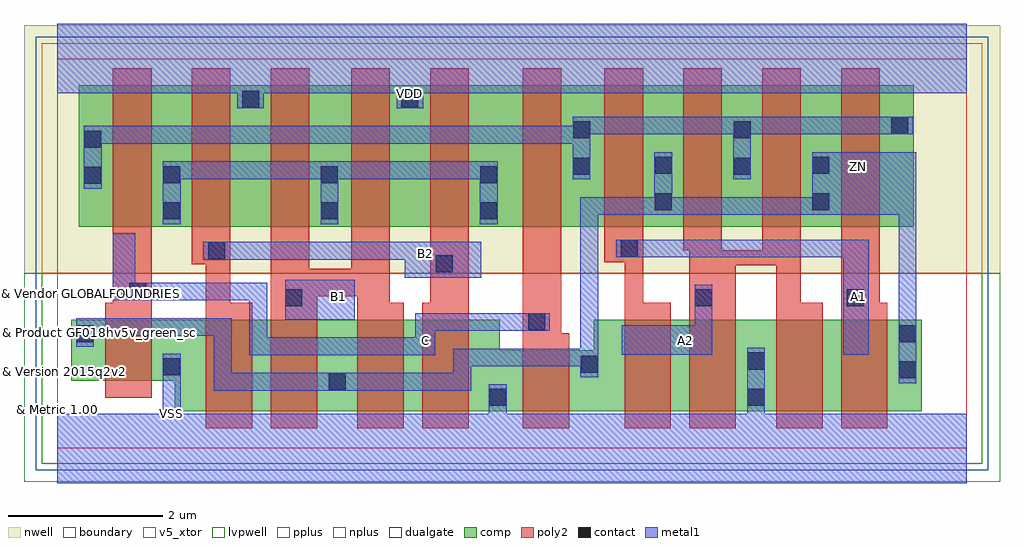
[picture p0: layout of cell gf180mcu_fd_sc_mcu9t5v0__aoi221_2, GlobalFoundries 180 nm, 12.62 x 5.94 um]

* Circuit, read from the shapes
.subckt gf180mcu_fd_sc_mcu9t5v0__aoi221_2 A1 A2 B1 B2 C VDD VSS ZN
XM1 VSS C ZN VSUBS nfet_05v0 w=0.79u l=0.6u m=2
XM2 n1 B2 VSS VSUBS nfet_05v0 w=1.185u l=0.6u
XM3 ZN B1 n1 VSUBS nfet_05v0 w=1.185u l=0.6u
XM4 n2 B1 ZN VSUBS nfet_05v0 w=1.185u l=0.6u
XM5 VSS B2 n2 VSUBS nfet_05v0 w=1.185u l=0.6u
XM6 n3 A1 ZN VSUBS nfet_05v0 w=1.185u l=0.6u
XM7 VSS A2 n3 VSUBS nfet_05v0 w=1.185u l=0.6u
XM8 n4 A2 VSS VSUBS nfet_05v0 w=1.185u l=0.6u
XM9 ZN A1 n4 VSUBS nfet_05v0 w=1.185u l=0.6u
XM10 n5 C n6 n7 pfet_05v0 w=1.83u l=0.5u m=2
XM11 VDD B2 n5 n7 pfet_05v0 w=1.83u l=0.5u m=2
XM12 n5 B1 VDD n7 pfet_05v0 w=1.83u l=0.5u m=2
XM13 ZN A1 n6 n7 pfet_05v0 w=1.83u l=0.5u m=2
XM14 n6 A2 ZN n7 pfet_05v0 w=1.83u l=0.5u m=2
.ends

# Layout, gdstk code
import gdstk
lib = gdstk.Library(unit=1e-6, precision=1e-09)
def R(c, l, rs):  # rectangles x0, y0, x1, y1
    for r in rs: c.add(gdstk.rectangle(r[:2], r[2:], *l))
def P(c, l, *ps):  # polygons
    for p in ps: c.add(gdstk.Polygon(p, *l))
boundary = (0, 0)
nwell = (21, 0)
comp = (22, 0)
poly2 = (30, 0)
pplus = (31, 0)
nplus = (32, 0)
contact = (33, 0)
metal1 = (34, 0)
dualgate = (55, 0)
v5_xtor = (112, 1)
lvpwell = (204, 0)

gf180mcu_fd_sc_mcu9t5v0_ = lib.new_cell('gf180mcu_fd_sc_mcu9t5v0__aoi221_2')
R(gf180mcu_fd_sc_mcu9t5v0_, boundary, [(0,0,11.76,5.04)])
R(gf180mcu_fd_sc_mcu9t5v0_, nwell, [(-0.43,2.265,12.19,5.47)])
R(gf180mcu_fd_sc_mcu9t5v0_, comp, [(0.28,2.865,11.075,4.695)])
P(gf180mcu_fd_sc_mcu9t5v0_, comp, [(1.52,0.48),(1.52,0.875),(0.18,0.875),(0.18,1.665),(5.72,1.665),(5.72,1.27),(6.935,1.27),(6.935,1.665),(11.175,1.665),(11.175,0.48)])
P(gf180mcu_fd_sc_mcu9t5v0_, poly2, [(0.62,0.655),(0.62,1.885),(0.72,1.885),(0.72,4.915),(1.22,4.915),(1.22,0.655)],
  [(1.92,0.26),(1.92,2.38),(1.74,2.38),(1.74,4.915),(2.24,4.915),(2.24,1.885),(2.52,1.885),(2.52,0.26)],
  [(2.76,0.26),(2.76,4.915),(3.26,4.915),(3.26,2.325),(3.8,2.325),(3.8,4.915),(4.3,4.915),(4.3,1.885),(4.48,1.885),(4.48,0.26),(3.88,0.26),(3.88,1.965),(3.36,1.965),(3.36,0.26)],
  [(4.72,0.26),(4.72,1.885),(4.82,1.885),(4.82,4.915),(5.32,4.915),(5.32,0.26)],
  [(6.02,0.26),(6.02,4.915),(6.52,4.915),(6.52,1.49),(6.62,1.49),(6.62,0.26)],
  [(7.335,0.26),(7.335,2.405),(7.075,2.405),(7.075,4.915),(7.575,4.915),(7.575,1.885),(7.935,1.885),(7.935,0.26)],
  [(8.175,0.26),(8.175,2.565),(8.095,2.565),(8.095,4.915),(8.595,4.915),(8.595,2.565),(9.115,2.565),(9.115,4.915),(9.615,4.915),(9.615,1.885),(9.895,1.885),(9.895,0.26),(9.295,0.26),(9.295,2.365),(8.775,2.365),(8.775,0.26)],
  [(10.135,0.26),(10.135,4.915),(10.635,4.915),(10.635,1.885),(10.735,1.885),(10.735,0.26)])
R(gf180mcu_fd_sc_mcu9t5v0_, pplus, [(-0.2,2.265,11.96,5.24)])
R(gf180mcu_fd_sc_mcu9t5v0_, nplus, [(-0.2,-0.2,11.96,2.265)])
R(gf180mcu_fd_sc_mcu9t5v0_, contact, [(5.585,0.55,5.805,0.77), (8.925,0.55,9.145,0.77), (3.51,0.75,3.73,0.97), (10.885,0.905,11.105,1.125), (1.37,0.945,1.59,1.165), (6.77,0.98,6.99,1.2), (8.925,1.02,9.145,1.24), (0.25,1.375,0.47,1.595), (10.885,1.375,11.105,1.595), (6.09,1.525,6.31,1.745), (2.95,1.835,3.17,2.055), (8.245,1.835,8.465,2.055), (10.21,1.835,10.43,2.055), (0.93,1.92,1.15,2.14), (4.895,2.275,5.115,2.495), (1.95,2.445,2.17,2.665), (7.285,2.475,7.505,2.695), (1.37,2.96,1.59,3.18), (3.41,2.96,3.63,3.18), (5.47,2.96,5.69,3.18), (7.725,3.08,7.945,3.3), (9.765,3.08,9.985,3.3), (0.35,3.42,0.57,3.64), (1.37,3.43,1.59,3.65), (3.41,3.43,3.63,3.65), (5.47,3.43,5.69,3.65), (6.67,3.54,6.89,3.76), (8.745,3.54,8.965,3.76), (7.725,3.55,7.945,3.77), (9.765,3.55,9.985,3.77), (0.35,3.89,0.57,4.11), (6.67,4.01,6.89,4.23), (8.745,4.01,8.965,4.23), (10.785,4.065,11.005,4.285), (2.39,4.405,2.61,4.625), (4.45,4.405,4.67,4.625)])
R(gf180mcu_fd_sc_mcu9t5v0_, metal1, [(2.945,1.665,3.845,2.18)])
P(gf180mcu_fd_sc_mcu9t5v0_, metal1, [(4.49,2.205),(4.49,2.44),(1.89,2.44),(1.89,2.67),(5.48,2.67),(5.48,2.205)],
  [(1.365,2.9),(1.365,3.71),(5.695,3.71),(5.695,2.9),(5.465,2.9),(5.465,3.48),(3.635,3.48),(3.635,2.9),(3.405,2.9),(3.405,3.48),(1.595,3.48),(1.595,2.9)],
  [(2.485,1.205),(2.485,1.915),(0.715,1.915),(0.715,2.785),(1.01,2.785),(1.01,2.145),(2.715,2.145),(2.715,1.435),(4.63,1.435),(4.63,1.75),(6.37,1.75),(6.37,1.52),(4.89,1.52),(4.89,1.205)],
  [(7.3,1.21),(7.3,1.59),(8.24,1.59),(8.24,2.115),(8.47,2.115),(8.47,1.21)],
  [(10.165,1.21),(10.165,2.47),(7.225,2.47),(7.225,2.7),(10.49,2.7),(10.49,1.21)],
  [(0.345,3.36),(0.345,4.17),(6.665,4.17),(6.665,4.29),(11.065,4.29),(11.065,4.06),(8.97,4.06),(8.97,3.48),(8.74,3.48),(8.74,4.06),(6.895,4.06),(6.895,3.48),(6.665,3.48),(6.665,3.94),(0.575,3.94),(0.575,3.36)],
  [(2.025,0.745),(2.025,1.455),(0.475,1.455),(0.475,1.315),(0.245,1.315),(0.245,1.685),(2.255,1.685),(2.255,0.975),(5.12,0.975),(5.12,1.29),(6.765,1.29),(6.765,3.25),(7.72,3.25),(7.72,3.83),(7.95,3.83),(7.95,3.25),(9.76,3.25),(9.76,3.83),(11.11,3.83),(11.11,0.845),(10.88,0.845),(10.88,3.02),(6.995,3.02),(6.995,0.92),(6.765,0.92),(6.765,1.06),(5.35,1.06),(5.35,0.745)],
  [(0,-0.45),(0,0.45),(1.365,0.45),(1.365,1.225),(1.595,1.225),(1.595,0.45),(5.58,0.45),(5.58,0.83),(5.81,0.83),(5.81,0.45),(8.92,0.45),(8.92,1.3),(9.15,1.3),(9.15,0.45),(11.76,0.45),(11.76,-0.45)],
  [(2.33,4.4),(2.33,4.59),(0,4.59),(0,5.49),(11.76,5.49),(11.76,4.59),(4.73,4.59),(4.73,4.4),(4.39,4.4),(4.39,4.59),(2.67,4.59),(2.67,4.4)])
R(gf180mcu_fd_sc_mcu9t5v0_, dualgate, [(-0.28,-0.28,12.04,5.32)])
R(gf180mcu_fd_sc_mcu9t5v0_, v5_xtor, [(0,0,11.76,5.04)])
R(gf180mcu_fd_sc_mcu9t5v0_, lvpwell, [(-0.43,-0.43,12.19,2.265)])
gf180mcu_fd_sc_mcu9t5v0_.add(gdstk.Label('A1', (10.36,1.96), layer=34, texttype=10))
gf180mcu_fd_sc_mcu9t5v0_.add(gdstk.Label('A2', (8.12,1.4), layer=34, texttype=10))
gf180mcu_fd_sc_mcu9t5v0_.add(gdstk.Label('B1', (3.64,1.96), layer=34, texttype=10))
gf180mcu_fd_sc_mcu9t5v0_.add(gdstk.Label('B2', (4.76,2.52), layer=34, texttype=10))
gf180mcu_fd_sc_mcu9t5v0_.add(gdstk.Label('C', (4.76,1.4), layer=34, texttype=10))
gf180mcu_fd_sc_mcu9t5v0_.add(gdstk.Label('VDD', (4.56,4.59), layer=34, texttype=10))
gf180mcu_fd_sc_mcu9t5v0_.add(gdstk.Label('VSS', (1.48,0.45), layer=34, texttype=10))
gf180mcu_fd_sc_mcu9t5v0_.add(gdstk.Label('ZN', (10.36,3.64), layer=34, texttype=10))
gf180mcu_fd_sc_mcu9t5v0_.add(gdstk.Label('& Vendor GLOBALFOUNDRIES', (0,2), layer=63, texttype=63))
gf180mcu_fd_sc_mcu9t5v0_.add(gdstk.Label('& Product GF018hv5v_green_sc9', (0,1.5), layer=63, texttype=63))
gf180mcu_fd_sc_mcu9t5v0_.add(gdstk.Label('& Version 2015q2v2', (0,1), layer=63, texttype=63))
gf180mcu_fd_sc_mcu9t5v0_.add(gdstk.Label('& Metric 1.00', (0,0.5), layer=63, texttype=63))

lib.write_gds('gf180mcu_fd_sc_mcu9t5v0__aoi221_2.gds')
